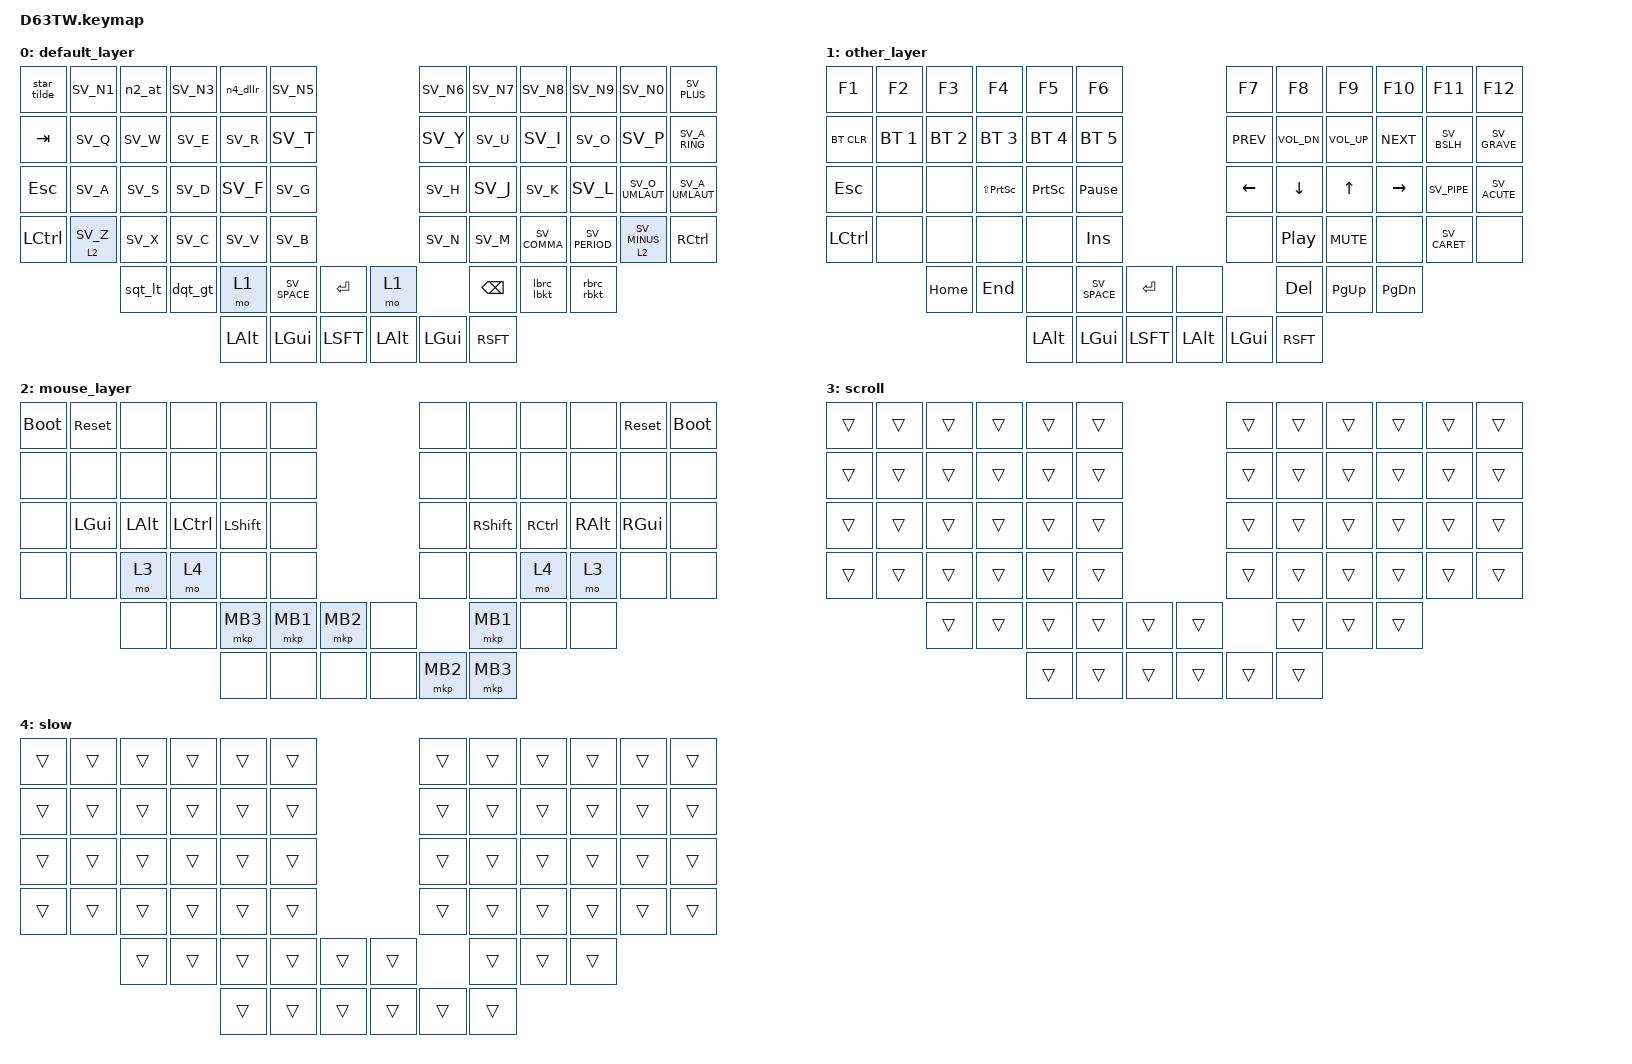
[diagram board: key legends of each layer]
#include <behaviors.dtsi>
#include <dt-bindings/zmk/keys.h>
#include <locale/keys_sv.h>
#include <dt-bindings/zmk/bt.h>
#include <dt-bindings/zmk/pointing.h>

/ {
    behaviors {
        lbrc_lbkt: left_brace_bracket {
            compatible = "zmk,behavior-mod-morph";
            #binding-cells = <0>;
            bindings = <&kp SV_LBRC>, <&kp SV_LBKT>;
            mods = <(MOD_LSFT|MOD_RSFT)>;
        };
        rbrc_rbkt: right_brace_bracket {
            compatible = "zmk,behavior-mod-morph";
            #binding-cells = <0>;
            bindings = <&kp SV_RBRC>, <&kp SV_RBKT>;
            mods = <(MOD_LSFT|MOD_RSFT)>;
        };

        sqt_lt: singleQuote_lessThan {
            compatible = "zmk,behavior-mod-morph";
            #binding-cells = <0>;
            bindings = <&kp SV_SQT>, <&kp SV_LT>;
            mods = <(MOD_LSFT|MOD_RSFT)>;
        };
        dqt_gt: dubbleQuote_greaterThan {
            compatible = "zmk,behavior-mod-morph";
            #binding-cells = <0>;
            bindings = <&kp SV_DQT>, <&kp SV_GT>;
            mods = <(MOD_LSFT|MOD_RSFT)>;
        };

        star_tilde: star_tilde {
            compatible = "zmk,behavior-mod-morph";
            #binding-cells = <0>;
            bindings = <&kp SV_STAR>, <&kp SV_TILDE>;
            mods = <(MOD_LSFT|MOD_RSFT)>;
        };

        /*
         * KEY               -> 2
         * SHIFT + KEY       -> @
         * MOD + SHIFT + KEY -> MOD + SHIFT + 2
         */
        at_gs2: at_guiShiftN2 {
            compatible = "zmk,behavior-mod-morph";
            #binding-cells = <0>;
            bindings = <&kp SV_AT>, <&kp LS(SV_N2)>;
            mods = <(MOD_LCTL|MOD_RCTL|MOD_LALT|MOD_RALT|MOD_LGUI|MOD_RGUI)>;
            keep-mods = <(MOD_LCTL|MOD_RCTL|MOD_LALT|MOD_RALT|MOD_LGUI|MOD_RGUI)>;
        };
        n2_at: n2_at {
            compatible = "zmk,behavior-mod-morph";
            #binding-cells = <0>;
            bindings = <&kp SV_N2>, <&at_gs2>;
            mods = <(MOD_LSFT|MOD_RSFT)>;
        };

        /*
         * KEY               -> 4
         * SHIFT + KEY       -> $
         * MOD + SHIFT + KEY -> MOD + SHIFT + 4
         */
        dllr_gs4: dollar_guiShiftN4 {
            compatible = "zmk,behavior-mod-morph";
            #binding-cells = <0>;
            bindings = <&kp SV_DLLR>, <&kp LS(SV_N4)>;
            mods = <(MOD_LCTL|MOD_RCTL|MOD_LALT|MOD_RALT|MOD_LGUI|MOD_RGUI)>;
            keep-mods = <(MOD_LCTL|MOD_RCTL|MOD_LALT|MOD_RALT|MOD_LGUI|MOD_RGUI)>;
        };
        n4_dllr: n4_dollar {
            compatible = "zmk,behavior-mod-morph";
            #binding-cells = <0>;
            bindings = <&kp SV_N4>, <&dllr_gs4>;
            mods = <(MOD_LSFT|MOD_RSFT)>;
        };
    };

    keymap {
        compatible = "zmk,keymap";

        default_layer {
// -----------------------------------------------------------------------------------------
// |  *  |  1  |  2  |  3  |  4  |  5  |       **       |  6  |  7  |  8  |  9  |  0  |  +  |
// | TAB |  q  |  w  |  e  |  r  |  t  |       **       |  y  |  u  |  i  |  o  |  p  |  å  |
// | ESC |  a  |  s  |  d  |  f  |  g  |       **       |  h  |  j  |  k  |  l  |  ö  |  ä  |
// |LCTRL|z (M)|  x  |  c  |  v  |  b  |       **       |  n  |  m  |  ,  |  .  |- (M)|RCTRL|
//             |  '  |  "  |LAYER| SPC | RET | ** |LAYER|XXXXX| BSPC|  {  |  }  |
//                         | LALT| LGUI| LSFT| ** | LALT| LGUI| RSFT|
// With Shift
// |  ~  |  !  |  @  |  #  |  $  |  %  |       **       |  &  |  /  |  (  |  )  |  =  |  ?  |
// | TAB |  Q  |  W  |  E  |  R  |  T  |       **       |  Y  |  U  |  I  |  O  |  P  |  Å  |
// | ESC |  A  |  S  |  D  |  F  |  G  |       **       |  H  |  J  |  K  |  L  |  Ö  |  Ä  |
// |LCTRL|Z (M)|  X  |  C  |  V  |  B  |       **       |  N  |  M  |  ;  |  :  |_ (M)|RCTRL|
//             |  <  |  >  |LAYER| SPC | RET | ** |LAYER|XXXXX| BSPC|  [  |  ]  |
//                         | LALT| LGUI| LSFT| ** | LALT| LGUI| RSFT|
            bindings = <
&star_tilde &kp SV_N1  &n2_at   &kp SV_N3 &n4_dllr &kp SV_N5             /**/          &kp SV_N6 &kp SV_N7 &kp SV_N8    &kp SV_N9     &kp SV_N0       &kp SV_PLUS
&kp TAB     &kp SV_Q   &kp SV_W &kp SV_E  &kp SV_R &kp SV_T              /**/          &kp SV_Y  &kp SV_U  &kp SV_I     &kp SV_O      &kp SV_P        &kp SV_A_RING
&kp ESC     &kp SV_A   &kp SV_S &kp SV_D  &kp SV_F &kp SV_G              /**/          &kp SV_H  &kp SV_J  &kp SV_K     &kp SV_L      &kp SV_O_UMLAUT &kp SV_A_UMLAUT
&kp LCTRL   &lt 2 SV_Z &kp SV_X &kp SV_C  &kp SV_V &kp SV_B              /**/          &kp SV_N  &kp SV_M  &kp SV_COMMA &kp SV_PERIOD &lt 2 SV_MINUS  &kp RCTRL
                       &sqt_lt  &dqt_gt   &mo 1    &kp SV_SPACE &kp RET  /**/ &mo 1              &kp BSPC  &lbrc_lbkt   &rbrc_rbkt
                                          &kp LALT &kp LGUI     &kp LSFT /**/ &kp LALT &kp LGUI  &kp RSFT
            >;
        };
        other_layer {
// -----------------------------------------------------------------------------------------
// | F1  | F2  | F3  | F4  | F5  | F6  |       **       | F7  | F8  | F9  | F10 | F11 | F12 |
// |BTCLR| BT1 | BT2 | BT3 | BT4 | BT5 |       **       | PREV| VDN | VUP | NEXT|  \  |  `  |
// | ESC |     |     | PSEL|PSCRN| PB  |       **       | LEFT| DOWN| UP  |RIGHT|  |  |  ´  |
// | LCTL|     |     |     |     | INS |       **       |     |PAUSE| MUTE|     |  ^  |     |
//             | HOME| END | XXX | SPC | RET | ** | XXX |XXXXX| DEL | PGUP| PGDN|
//                         | LALT| LGUI| LSFT| ** | LALT| LGUI| RSFT|
            bindings = <
&kp F1     &kp F2       &kp F3       &kp F4        &kp F5       &kp F6                   /**/          &kp F7     &kp F8       &kp F9       &kp F10    &kp F11      &kp F12
&bt BT_CLR &bt BT_SEL 1 &bt BT_SEL 2 &bt BT_SEL 3  &bt BT_SEL 4 &bt BT_SEL 5             /**/          &kp C_PREV &kp C_VOL_DN &kp C_VOL_UP &kp C_NEXT &kp SV_BSLH  &kp SV_GRAVE
&kp ESC    &none        &none        &kp LS(PSCRN) &kp PSCRN    &kp PAUSE_BREAK          /**/          &kp LEFT   &kp DOWN     &kp UP       &kp RIGHT  &kp SV_PIPE  &kp SV_ACUTE
&kp LCTRL  &none        &none        &none         &none        &kp INS                  /**/          &none      &kp C_PP     &kp C_MUTE   &none      &kp SV_CARET &none
                        &kp HOME     &kp END       &none        &kp SV_SPACE    &kp RET  /**/ &none               &kp DEL      &kp PG_UP    &kp PG_DN
                                                   &kp LALT     &kp LGUI        &kp LSFT /**/ &kp LALT &kp LGUI   &kp RSFT
            >;
        };
        mouse_layer {
// -----------------------------------------------------------------------------------------
// | BOOT| RST |     |     |     |     |       **       |     |     |     |     | RST | BOOT|
// |     |     |     |     |     |     |       **       |     |     |     |     |     |     |
// |     | LGUI| LALT| LCTL| LSFT|     |       **       |     | RSFT| RCTL| RALT| RGUI|     |
// |     | XXX |SCROL| SLOW|     |     |       **       |     |     | SLOW|SCROL| XXX |     |
//             |     |     | MB3 | MB1 | MB2 | ** |     |XXXXX| MB1 |     |     |
//                         |     |     |     | ** |     | MB2 | MB3 |
            bindings = <
&bootloader &sys_reset &none    &none     &none     &none             /**/        &none    &none     &none     &none    &sys_reset &bootloader
&none       &none      &none    &none     &none     &none             /**/        &none    &none     &none     &none    &none      &none
&none       &kp LGUI   &kp LALT &kp LCTRL &kp LSHFT &none             /**/        &none    &kp RSHFT &kp RCTRL &kp RALT &kp RGUI   &none
&none       &none      &mo 3    &mo 4     &none     &none             /**/        &none    &none     &mo 4     &mo 3    &none      &none
                       &none    &none     &mkp MB3  &mkp MB1 &mkp MB2 /**/ &none           &mkp MB1  &none     &none
                                          &none     &none    &none    /**/ &none  &mkp MB2 &mkp MB3
            >;
        };

        // Transparent layers for scrolling and slow movements with the trackball.
        // These modes gets activated when a specific layer is active, see the
        // trackball config file.
        scroll {
            bindings = <
&trans &trans &trans &trans &trans &trans        /**/        &trans &trans &trans &trans &trans &trans
&trans &trans &trans &trans &trans &trans        /**/        &trans &trans &trans &trans &trans &trans
&trans &trans &trans &trans &trans &trans        /**/        &trans &trans &trans &trans &trans &trans
&trans &trans &trans &trans &trans &trans        /**/        &trans &trans &trans &trans &trans &trans
              &trans &trans &trans &trans &trans /**/ &trans &trans &trans &trans
                            &trans &trans &trans /**/ &trans &trans &trans
            >;
        };
        slow {
            bindings = <
&trans &trans &trans &trans &trans &trans        /**/        &trans &trans &trans &trans &trans &trans
&trans &trans &trans &trans &trans &trans        /**/        &trans &trans &trans &trans &trans &trans
&trans &trans &trans &trans &trans &trans        /**/        &trans &trans &trans &trans &trans &trans
&trans &trans &trans &trans &trans &trans        /**/        &trans &trans &trans &trans &trans &trans
              &trans &trans &trans &trans &trans /**/ &trans &trans &trans &trans
                            &trans &trans &trans /**/ &trans &trans &trans
            >;
        };
    };
 };
